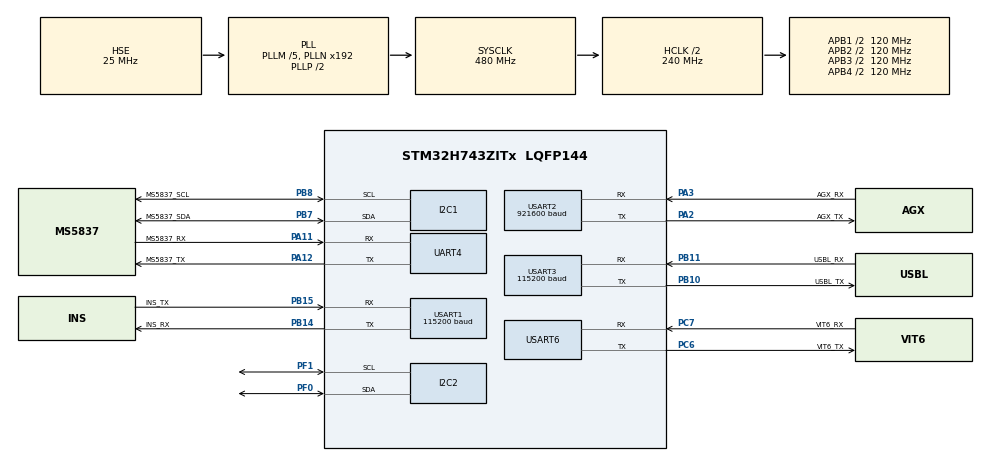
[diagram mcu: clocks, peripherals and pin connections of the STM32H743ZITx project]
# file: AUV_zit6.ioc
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CORTEX_M7.default_mode_Activation=1
Dma.Request0=USART2_RX
Dma.Request1=USART2_TX
Dma.Request2=USART6_RX
Dma.Request3=USART6_TX
Dma.Request4=UART4_RX
Dma.Request5=USART3_RX
Dma.Request6=USART1_RX
Dma.UART4_RX.4.Direction=DMA_PERIPH_TO_MEMORY
Dma.UART4_RX.4.EventEnable=DISABLE
Dma.UART4_RX.4.FIFOMode=DMA_FIFOMODE_DISABLE
Dma.UART4_RX.4.Instance=DMA1_Stream2
Dma.UART4_RX.4.MemDataAlignment=DMA_MDATAALIGN_BYTE
Dma.UART4_RX.4.MemInc=DMA_MINC_ENABLE
Dma.UART4_RX.4.Mode=DMA_CIRCULAR
Dma.UART4_RX.4.PeriphDataAlignment=DMA_PDATAALIGN_BYTE
Dma.UART4_RX.4.PeriphInc=DMA_PINC_DISABLE
Dma.UART4_RX.4.Polarity=HAL_DMAMUX_REQ_GEN_RISING
Dma.UART4_RX.4.Priority=DMA_PRIORITY_LOW
Dma.UART4_RX.4.RequestNumber=1
Dma.UART4_RX.4.SignalID=NONE
Dma.UART4_RX.4.SyncEnable=DISABLE
Dma.UART4_RX.4.SyncPolarity=HAL_DMAMUX_SYNC_NO_EVENT
Dma.UART4_RX.4.SyncRequestNumber=1
Dma.UART4_RX.4.SyncSignalID=NONE
Dma.USART1_RX.6.Direction=DMA_PERIPH_TO_MEMORY
Dma.USART1_RX.6.EventEnable=DISABLE
Dma.USART1_RX.6.FIFOMode=DMA_FIFOMODE_DISABLE
Dma.USART1_RX.6.Instance=DMA1_Stream4
Dma.USART1_RX.6.MemDataAlignment=DMA_MDATAALIGN_BYTE
Dma.USART1_RX.6.MemInc=DMA_MINC_ENABLE
Dma.USART1_RX.6.Mode=DMA_CIRCULAR
Dma.USART1_RX.6.PeriphDataAlignment=DMA_PDATAALIGN_BYTE
Dma.USART1_RX.6.PeriphInc=DMA_PINC_DISABLE
Dma.USART1_RX.6.Polarity=HAL_DMAMUX_REQ_GEN_RISING
Dma.USART1_RX.6.Priority=DMA_PRIORITY_HIGH
Dma.USART1_RX.6.RequestNumber=1
Dma.USART1_RX.6.SignalID=NONE
Dma.USART1_RX.6.SyncEnable=DISABLE
Dma.USART1_RX.6.SyncPolarity=HAL_DMAMUX_SYNC_NO_EVENT
Dma.USART1_RX.6.SyncRequestNumber=1
Dma.USART1_RX.6.SyncSignalID=NONE
Dma.USART2_RX.0.Direction=DMA_PERIPH_TO_MEMORY
Dma.USART2_RX.0.EventEnable=DISABLE
Dma.USART2_RX.0.FIFOMode=DMA_FIFOMODE_DISABLE
Dma.USART2_RX.0.Instance=DMA1_Stream0
Dma.USART2_RX.0.MemDataAlignment=DMA_MDATAALIGN_BYTE
Dma.USART2_RX.0.MemInc=DMA_MINC_ENABLE
Dma.USART2_RX.0.Mode=DMA_CIRCULAR
Dma.USART2_RX.0.PeriphDataAlignment=DMA_PDATAALIGN_BYTE
Dma.USART2_RX.0.PeriphInc=DMA_PINC_DISABLE
Dma.USART2_RX.0.Polarity=HAL_DMAMUX_REQ_GEN_RISING
Dma.USART2_RX.0.Priority=DMA_PRIORITY_VERY_HIGH
Dma.USART2_RX.0.RequestNumber=1
Dma.USART2_RX.0.SignalID=NONE
Dma.USART2_RX.0.SyncEnable=DISABLE
Dma.USART2_RX.0.SyncPolarity=HAL_DMAMUX_SYNC_NO_EVENT
Dma.USART2_RX.0.SyncRequestNumber=1
Dma.USART2_RX.0.SyncSignalID=NONE
Dma.USART2_TX.1.Direction=DMA_MEMORY_TO_PERIPH
Dma.USART2_TX.1.EventEnable=DISABLE
Dma.USART2_TX.1.FIFOMode=DMA_FIFOMODE_DISABLE
Dma.USART2_TX.1.Instance=DMA1_Stream1
Dma.USART2_TX.1.MemDataAlignment=DMA_MDATAALIGN_BYTE
Dma.USART2_TX.1.MemInc=DMA_MINC_ENABLE
Dma.USART2_TX.1.Mode=DMA_NORMAL
Dma.USART2_TX.1.PeriphDataAlignment=DMA_PDATAALIGN_BYTE
Dma.USART2_TX.1.PeriphInc=DMA_PINC_DISABLE
Dma.USART2_TX.1.Polarity=HAL_DMAMUX_REQ_GEN_RISING
Dma.USART2_TX.1.Priority=DMA_PRIORITY_VERY_HIGH
Dma.USART2_TX.1.RequestNumber=1
Dma.USART2_TX.1.SignalID=NONE
Dma.USART2_TX.1.SyncEnable=DISABLE
Dma.USART2_TX.1.SyncPolarity=HAL_DMAMUX_SYNC_NO_EVENT
Dma.USART2_TX.1.SyncRequestNumber=1
Dma.USART2_TX.1.SyncSignalID=NONE
Dma.USART3_RX.5.Direction=DMA_PERIPH_TO_MEMORY
Dma.USART3_RX.5.EventEnable=DISABLE
Dma.USART3_RX.5.FIFOMode=DMA_FIFOMODE_DISABLE
Dma.USART3_RX.5.Instance=DMA1_Stream3
Dma.USART3_RX.5.MemDataAlignment=DMA_MDATAALIGN_BYTE
Dma.USART3_RX.5.MemInc=DMA_MINC_ENABLE
Dma.USART3_RX.5.Mode=DMA_CIRCULAR
Dma.USART3_RX.5.PeriphDataAlignment=DMA_PDATAALIGN_BYTE
Dma.USART3_RX.5.PeriphInc=DMA_PINC_DISABLE
Dma.USART3_RX.5.Polarity=HAL_DMAMUX_REQ_GEN_RISING
Dma.USART3_RX.5.Priority=DMA_PRIORITY_LOW
Dma.USART3_RX.5.RequestNumber=1
Dma.USART3_RX.5.SignalID=NONE
Dma.USART3_RX.5.SyncEnable=DISABLE
Dma.USART3_RX.5.SyncPolarity=HAL_DMAMUX_SYNC_NO_EVENT
Dma.USART3_RX.5.SyncRequestNumber=1
Dma.USART3_RX.5.SyncSignalID=NONE
Dma.USART6_RX.2.Direction=DMA_PERIPH_TO_MEMORY
Dma.USART6_RX.2.EventEnable=DISABLE
Dma.USART6_RX.2.FIFOMode=DMA_FIFOMODE_DISABLE
Dma.USART6_RX.2.Instance=DMA1_Stream7
Dma.USART6_RX.2.MemDataAlignment=DMA_MDATAALIGN_BYTE
Dma.USART6_RX.2.MemInc=DMA_MINC_ENABLE
Dma.USART6_RX.2.Mode=DMA_NORMAL
Dma.USART6_RX.2.PeriphDataAlignment=DMA_PDATAALIGN_BYTE
Dma.USART6_RX.2.PeriphInc=DMA_PINC_DISABLE
Dma.USART6_RX.2.Polarity=HAL_DMAMUX_REQ_GEN_RISING
Dma.USART6_RX.2.Priority=DMA_PRIORITY_VERY_HIGH
Dma.USART6_RX.2.RequestNumber=1
Dma.USART6_RX.2.SignalID=NONE
Dma.USART6_RX.2.SyncEnable=DISABLE
Dma.USART6_RX.2.SyncPolarity=HAL_DMAMUX_SYNC_NO_EVENT
Dma.USART6_RX.2.SyncRequestNumber=1
Dma.USART6_RX.2.SyncSignalID=NONE
Dma.USART6_TX.3.Direction=DMA_MEMORY_TO_PERIPH
Dma.USART6_TX.3.EventEnable=DISABLE
Dma.USART6_TX.3.FIFOMode=DMA_FIFOMODE_DISABLE
Dma.USART6_TX.3.Instance=DMA1_Stream6
Dma.USART6_TX.3.MemDataAlignment=DMA_MDATAALIGN_BYTE
Dma.USART6_TX.3.MemInc=DMA_MINC_ENABLE
Dma.USART6_TX.3.Mode=DMA_NORMAL
Dma.USART6_TX.3.PeriphDataAlignment=DMA_PDATAALIGN_BYTE
Dma.USART6_TX.3.PeriphInc=DMA_PINC_DISABLE
Dma.USART6_TX.3.Polarity=HAL_DMAMUX_REQ_GEN_RISING
Dma.USART6_TX.3.Priority=DMA_PRIORITY_VERY_HIGH
Dma.USART6_TX.3.RequestNumber=1
Dma.USART6_TX.3.SignalID=NONE
Dma.USART6_TX.3.SyncEnable=DISABLE
Dma.USART6_TX.3.SyncPolarity=HAL_DMAMUX_SYNC_NO_EVENT
Dma.USART6_TX.3.SyncRequestNumber=1
Dma.USART6_TX.3.SyncSignalID=NONE
FREERTOS.Tasks01=app_bootstrap,48,512,Entry_AppBootstrap,Default,NULL,Dynamic,NULL,NULL
FREERTOS.configCHECK_FOR_STACK_OVERFLOW=2
FREERTOS.configMINIMAL_STACK_SIZE=256
FREERTOS.configTOTAL_HEAP_SIZE=80000
I2C1.Timing=0x307075B1
I2C2.Timing=0x307075B1
IWDG1.Reload=3000-1
IWDG1.Window=4096-1
Mcu.Family=STM32H7
Mcu.Name=STM32H743ZITx
Mcu.Package=LQFP144
NVIC.DMA1_Stream0_IRQn=true\:5\:0\:false\:false\:true\:true\:false\:true\:true
NVIC.DMA1_Stream1_IRQn=true\:5\:0\:true\:false\:true\:true\:false\:true\:true
NVIC.DMA1_Stream2_IRQn=true\:5\:0\:false\:false\:true\:true\:false\:true\:true
NVIC.DMA1_Stream3_IRQn=true\:5\:0\:false\:false\:true\:true\:false\:true\:true
NVIC.DMA1_Stream4_IRQn=true\:5\:0\:false\:false\:true\:true\:false\:true\:true
NVIC.DMA1_Stream6_IRQn=true\:5\:0\:false\:false\:true\:true\:false\:true\:true
NVIC.DMA1_Stream7_IRQn=true\:5\:0\:false\:false\:true\:true\:false\:true\:true
NVIC.PriorityGroup=NVIC_PRIORITYGROUP_4
NVIC.TIM6_DAC_IRQn=true\:0\:0\:true\:false\:true\:false\:false\:true\:true
NVIC.TimeBase=TIM6_DAC_IRQn
NVIC.TimeBaseIP=TIM6
NVIC.UART4_IRQn=true\:5\:0\:false\:false\:true\:true\:true\:true\:true
NVIC.USART1_IRQn=true\:5\:0\:false\:false\:true\:true\:true\:true\:true
NVIC.USART2_IRQn=true\:5\:0\:false\:false\:true\:true\:true\:true\:true
NVIC.USART3_IRQn=true\:5\:0\:false\:false\:true\:true\:true\:true\:true
NVIC.USART6_IRQn=true\:5\:0\:false\:false\:true\:true\:true\:true\:true
PA11.GPIO_Label=MS5837_RX
PA11.Mode=Asynchronous
PA11.Signal=UART4_RX
PA12.GPIO_Label=MS5837_TX
PA12.Mode=Asynchronous
PA12.Signal=UART4_TX
PA13\ (JTMS/SWDIO).Mode=Serial_Wire
PA13\ (JTMS/SWDIO).Signal=DEBUG_JTMS-SWDIO
PA14\ (JTCK/SWCLK).Mode=Serial_Wire
PA14\ (JTCK/SWCLK).Signal=DEBUG_JTCK-SWCLK
PA2.GPIO_Label=AGX_TX
PA2.GPIO_PuPd=GPIO_PULLUP
PA2.Mode=Asynchronous
PA2.Signal=USART2_TX
PA3.GPIO_Label=AGX_RX
PA3.GPIO_PuPd=GPIO_PULLUP
PA3.Mode=Asynchronous
PA3.Signal=USART2_RX
PB10.GPIO_Label=USBL_TX
PB10.GPIO_PuPd=GPIO_PULLUP
PB10.Mode=Asynchronous
PB10.Signal=USART3_TX
PB11.GPIO_Label=USBL_RX
PB11.GPIO_PuPd=GPIO_PULLUP
PB11.Mode=Asynchronous
PB11.Signal=USART3_RX
PB14.GPIO_Label=INS_RX
PB14.GPIO_PuPd=GPIO_PULLUP
PB14.Mode=Asynchronous
PB14.Signal=USART1_TX
PB15.GPIO_Label=INS_TX
PB15.GPIO_PuPd=GPIO_PULLUP
PB15.Mode=Asynchronous
PB15.Signal=USART1_RX
PB7.GPIO_Label=MS5837_SDA
PB7.Mode=I2C
PB7.Signal=I2C1_SDA
PB8.GPIO_Label=MS5837_SCL
PB8.Mode=I2C
PB8.Signal=I2C1_SCL
PC14-OSC32_IN\ (OSC32_IN).Mode=LSE-External-Oscillator
PC14-OSC32_IN\ (OSC32_IN).Signal=RCC_OSC32_IN
PC15-OSC32_OUT\ (OSC32_OUT).Mode=LSE-External-Oscillator
PC15-OSC32_OUT\ (OSC32_OUT).Signal=RCC_OSC32_OUT
PC6.GPIO_Label=VIT6_TX
PC6.Mode=Asynchronous
PC6.Signal=USART6_TX
PC7.GPIO_Label=VIT6_RX
PC7.Mode=Asynchronous
PC7.Signal=USART6_RX
PF0.Mode=I2C
PF0.Signal=I2C2_SDA
PF1.Mode=I2C
PF1.Signal=I2C2_SCL
PH0-OSC_IN\ (PH0).Mode=HSE-External-Oscillator
PH0-OSC_IN\ (PH0).Signal=RCC_OSC_IN
PH1-OSC_OUT\ (PH1).Mode=HSE-External-Oscillator
PH1-OSC_OUT\ (PH1).Signal=RCC_OSC_OUT
ProjectManager.HeapSize=0x1000
ProjectManager.StackSize=0x2000
ProjectManager.TargetToolchain=CMake
RCC.ADCFreq_Value=50390625
RCC.APB1Freq_Value=120000000
RCC.APB2Freq_Value=120000000
RCC.APB3Freq_Value=120000000
RCC.APB4Freq_Value=120000000
RCC.CortexFreq_Value=480000000
RCC.D1PPRE=RCC_APB3_DIV2
RCC.D2PPRE1=RCC_APB1_DIV2
RCC.D2PPRE2=RCC_APB2_DIV2
RCC.D3PPRE=RCC_APB4_DIV2
RCC.DIVM1=5
RCC.DIVN1=192
RCC.HCLKFreq_Value=240000000
RCC.HPRE=RCC_HCLK_DIV2
RCC.PLL2FRACN=0
RCC.PLL3FRACN=0
RCC.PLLFRACN=0
RCC.PLLSourceVirtual=RCC_PLLSOURCE_HSE
RCC.SYSCLKFreq_VALUE=480000000
RCC.SYSCLKSource=RCC_SYSCLKSOURCE_PLLCLK
RCC.USBFreq_Value=480000000
USART1.BaudRate=115200
USART1.StopBits=STOPBITS_1
USART1.VirtualMode-Asynchronous=VM_ASYNC
USART2.BaudRate=921600
USART2.VirtualMode-Asynchronous=VM_ASYNC
USART3.BaudRate=115200
USART3.StopBits=STOPBITS_1
USART3.VirtualMode-Asynchronous=VM_ASYNC
USART6.VirtualMode-Asynchronous=VM_ASYNC
VP_FREERTOS_VS_CMSIS_V2.Mode=CMSIS_V2
VP_IWDG1_VS_IWDG.Mode=IWDG_Activate
VP_MEMORYMAP_VS_MEMORYMAP.Mode=CurAppReg
VP_SYS_VS_tim6.Mode=TIM6
board=custom

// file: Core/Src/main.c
/* USER CODE BEGIN Header */
/**
 ******************************************************************************
 * @file           : main.c
 * @brief          : Main program body
 ******************************************************************************
 * @attention
 *
 * Copyright (c) 2026 STMicroelectronics.
 * All rights reserved.
 *
 * This software is licensed under terms that can be found in the LICENSE file
 * in the root directory of this software component.
 * If no LICENSE file comes with this software, it is provided AS-IS.
 *
 ******************************************************************************
 */
/* USER CODE END Header */
#include "main.h"
#include "Pushrod_Porting_Config.h"
#include "FreeRTOS.h"
#include "cmsis_os2.h"
#include "dma.h"
#include "i2c.h"
#include "iwdg.h"
#include "usart.h"
#include "gpio.h"

void SystemClock_Config(void);
static void MPU_Config(void);
void MX_FREERTOS_Init(void);
/* USER CODE BEGIN PFP */
extern void Entry_MicroRosTask(void *argument);
extern void Entry_ControlTask(void *argument);
/* USER CODE END PFP */

/* USER CODE BEGIN 0 */

/**
 * @brief  自定义 MPU 配置（在 CubeMX 生成的 MPU_Config 之后追加）
 *         RAM_D2 设为 Non-cacheable 供 DMA 缓冲区使用
 *         AXI SRAM 设为 Non-cacheable
 * @note   放在 USER CODE 区域，CubeMX 重新生成时不会覆盖
 */
static void UserApp_MPU_Config(void) {
  MPU_Region_InitTypeDef MPU_InitStruct = {0};

  /* Configure RAM_D2 (SRAM1/2/3) as Non-cacheable for DMA */
  MPU_InitStruct.Enable = MPU_REGION_ENABLE;
  MPU_InitStruct.Number = MPU_REGION_NUMBER1;
  MPU_InitStruct.BaseAddress = 0x30000000;
  MPU_InitStruct.Size = MPU_REGION_SIZE_512KB;
  MPU_InitStruct.SubRegionDisable = 0x0;
  MPU_InitStruct.TypeExtField = MPU_TEX_LEVEL1;
  MPU_InitStruct.AccessPermission = MPU_REGION_FULL_ACCESS;
  MPU_InitStruct.DisableExec = MPU_INSTRUCTION_ACCESS_DISABLE;
  MPU_InitStruct.IsShareable = MPU_ACCESS_NOT_SHAREABLE;
  MPU_InitStruct.IsCacheable = MPU_ACCESS_NOT_CACHEABLE;
  MPU_InitStruct.IsBufferable = MPU_ACCESS_NOT_BUFFERABLE;
  HAL_MPU_ConfigRegion(&MPU_InitStruct);

  /* Configure AXI SRAM as Non-cacheable */
  MPU_InitStruct.Number = MPU_REGION_NUMBER2;
  MPU_InitStruct.BaseAddress = 0x24000000;
  MPU_InitStruct.Size = MPU_REGION_SIZE_512KB;
  HAL_MPU_ConfigRegion(&MPU_InitStruct);
}

/* USER CODE END 0 */

int main(void)
{

  /* MPU Configuration--------------------------------------------------------*/
  MPU_Config();

  /* MCU Configuration--------------------------------------------------------*/

  /* Reset of all peripherals, Initializes the Flash interface and the Systick. */
  HAL_Init();

  /* Configure the system clock */
  SystemClock_Config();

  /* USER CODE BEGIN SysInit */
  __HAL_RCC_D2SRAM1_CLK_ENABLE();
  __HAL_RCC_D2SRAM2_CLK_ENABLE();
  __HAL_RCC_D2SRAM3_CLK_ENABLE();
  /* USER CODE END SysInit */

  /* Initialize all configured peripherals */
  MX_GPIO_Init();
  MX_DMA_Init();
#if !AUV_PRESET_USES_GPIO_PUSHROD
  MX_I2C1_Init();
#endif
  MX_USART2_UART_Init();
  MX_I2C2_Init();
  MX_USART1_UART_Init();
  MX_USART3_UART_Init();
  MX_USART6_UART_Init();
  MX_IWDG1_Init();
  MX_UART4_Init();
  /* USER CODE BEGIN 2 */
  /* 追加自定义 MPU 区域（DMA 缓冲区 Non-cacheable），不覆盖 CubeMX 的默认配置 */
  UserApp_MPU_Config();
  /* USER CODE END 2 */

  /* Init scheduler */
  osKernelInitialize();  /* Call init function for freertos objects (in cmsis_os2.c) */
  MX_FREERTOS_Init();

  /* Start scheduler */
  osKernelStart();

  /* We should never get here as control is now taken by the scheduler */

  /* Infinite loop */
  while (1) {

  }
}

void SystemClock_Config(void)
{
  RCC_OscInitTypeDef RCC_OscInitStruct = {0};
  RCC_ClkInitTypeDef RCC_ClkInitStruct = {0};

  /** Supply configuration update enable
  */
  HAL_PWREx_ConfigSupply(PWR_LDO_SUPPLY);

  /** Configure the main internal regulator output voltage
  */
  __HAL_PWR_VOLTAGESCALING_CONFIG(PWR_REGULATOR_VOLTAGE_SCALE0);

  while(!__HAL_PWR_GET_FLAG(PWR_FLAG_VOSRDY)) {}

  /** Initializes the RCC Oscillators according to the specified parameters
  * in the RCC_OscInitTypeDef structure.
  */
  RCC_OscInitStruct.OscillatorType = RCC_OSCILLATORTYPE_LSI|RCC_OSCILLATORTYPE_HSE;
  RCC_OscInitStruct.HSEState = RCC_HSE_ON;
  RCC_OscInitStruct.LSIState = RCC_LSI_ON;
  RCC_OscInitStruct.PLL.PLLState = RCC_PLL_ON;
  RCC_OscInitStruct.PLL.PLLSource = RCC_PLLSOURCE_HSE;
  RCC_OscInitStruct.PLL.PLLM = 5;
  RCC_OscInitStruct.PLL.PLLN = 192;
  RCC_OscInitStruct.PLL.PLLP = 2;
  RCC_OscInitStruct.PLL.PLLQ = 2;
  RCC_OscInitStruct.PLL.PLLR = 2;
  RCC_OscInitStruct.PLL.PLLRGE = RCC_PLL1VCIRANGE_2;
  RCC_OscInitStruct.PLL.PLLVCOSEL = RCC_PLL1VCOWIDE;
  RCC_OscInitStruct.PLL.PLLFRACN = 0;
  if (HAL_RCC_OscConfig(&RCC_OscInitStruct) != HAL_OK)
  {
    Error_Handler();
  }

  /** Initializes the CPU, AHB and APB buses clocks
  */
  RCC_ClkInitStruct.ClockType = RCC_CLOCKTYPE_HCLK|RCC_CLOCKTYPE_SYSCLK
                              |RCC_CLOCKTYPE_PCLK1|RCC_CLOCKTYPE_PCLK2
                              |RCC_CLOCKTYPE_D3PCLK1|RCC_CLOCKTYPE_D1PCLK1;
  RCC_ClkInitStruct.SYSCLKSource = RCC_SYSCLKSOURCE_PLLCLK;
  RCC_ClkInitStruct.SYSCLKDivider = RCC_SYSCLK_DIV1;
  RCC_ClkInitStruct.AHBCLKDivider = RCC_HCLK_DIV2;
  RCC_ClkInitStruct.APB3CLKDivider = RCC_APB3_DIV2;
  RCC_ClkInitStruct.APB1CLKDivider = RCC_APB1_DIV2;
  RCC_ClkInitStruct.APB2CLKDivider = RCC_APB2_DIV2;
  RCC_ClkInitStruct.APB4CLKDivider = RCC_APB4_DIV2;

  if (HAL_RCC_ClockConfig(&RCC_ClkInitStruct, FLASH_LATENCY_4) != HAL_OK)
  {
    Error_Handler();
  }
}

 /* MPU Configuration */

void MPU_Config(void)
{
  MPU_Region_InitTypeDef MPU_InitStruct = {0};

  /* Disables the MPU */
  HAL_MPU_Disable();

  /** Initializes and configures the Region and the memory to be protected
  */
  MPU_InitStruct.Enable = MPU_REGION_ENABLE;
  MPU_InitStruct.Number = MPU_REGION_NUMBER0;
  MPU_InitStruct.BaseAddress = 0x0;
  MPU_InitStruct.Size = MPU_REGION_SIZE_4GB;
  MPU_InitStruct.SubRegionDisable = 0x87;
  MPU_InitStruct.TypeExtField = MPU_TEX_LEVEL0;
  MPU_InitStruct.AccessPermission = MPU_REGION_NO_ACCESS;
  MPU_InitStruct.DisableExec = MPU_INSTRUCTION_ACCESS_DISABLE;
  MPU_InitStruct.IsShareable = MPU_ACCESS_SHAREABLE;
  MPU_InitStruct.IsCacheable = MPU_ACCESS_NOT_CACHEABLE;
  MPU_InitStruct.IsBufferable = MPU_ACCESS_NOT_BUFFERABLE;

  HAL_MPU_ConfigRegion(&MPU_InitStruct);
  /* Enables the MPU */
  HAL_MPU_Enable(MPU_PRIVILEGED_DEFAULT);

}

void HAL_TIM_PeriodElapsedCallback(TIM_HandleTypeDef *htim)
{
  if (htim->Instance == TIM6)
  {
    HAL_IncTick();
  }
}

void Error_Handler(void)
{
  __disable_irq();
  while (1) {
  }
}
#ifdef USE_FULL_ASSERT
/**
  * @brief  Reports the name of the source file and the source line number
  *         where the assert_param error has occurred.
  * @param  file: pointer to the source file name
  * @param  line: assert_param error line source number
  * @retval None
  */
void assert_failed(uint8_t *file, uint32_t line)
{
  /* USER CODE BEGIN 6 */
  /* User can add his own implementation to report the file name and line
     number, ex: printf("Wrong parameters value: file %s on line %d\r\n", file,
     line) */
  /* USER CODE END 6 */
}
#endif /* USE_FULL_ASSERT */

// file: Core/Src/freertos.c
/* USER CODE BEGIN Header */
/**
 ******************************************************************************
 * File Name          : freertos.c
 * Description        : Code for freertos applications
 ******************************************************************************
 * @attention
 *
 * Copyright (c) 2026 STMicroelectronics.
 * All rights reserved.
 *
 * This software is licensed under terms that can be found in the LICENSE file
 * in the root directory of this software component.
 * If no LICENSE file comes with this software, it is provided AS-IS.
 *
 ******************************************************************************
 */
/* USER CODE END Header */

#include "FreeRTOS.h"
#include "task.h"
#include "main.h"
#include "FreeRTOS.h"
#include "cmsis_os2.h"

/* USER CODE BEGIN Includes */
#include "AppMain.hpp"
#include "usart.h"
#include <rcl/error_handling.h>
#include <rcl/rcl.h>
#include <rclc/executor.h>
#include <rmw_microros/rmw_microros.h>
#include <std_msgs/msg/int32.h>
#include <uxr/client/transport.h>

/* USER CODE END Includes */

/* USER CODE BEGIN Variables */
rcl_publisher_t publisher;
std_msgs__msg__Int32 msg;
/* USER CODE END Variables */
/* Definitions for app_bootstrap */
osThreadId_t app_bootstrapHandle;
const osThreadAttr_t app_bootstrap_attributes = {
  .name = "app_bootstrap",
  .stack_size = 512 * 4,
  .priority = (osPriority_t) osPriorityRealtime,
};

/* USER CODE BEGIN FunctionPrototypes */
bool cubemx_transport_open(struct uxrCustomTransport *transport);
bool cubemx_transport_close(struct uxrCustomTransport *transport);
size_t cubemx_transport_write(struct uxrCustomTransport *transport,
                              const uint8_t *buf, size_t len, uint8_t *err);
size_t cubemx_transport_read(struct uxrCustomTransport *transport, uint8_t *buf,
                             size_t len, int timeout, uint8_t *err);

void *microros_allocate(size_t size, void *state);
void microros_deallocate(void *pointer, void *state);
void *microros_reallocate(void *pointer, size_t size, void *state);
void *microros_zero_allocate(size_t number_of_elements, size_t size_of_element,
                             void *state);
/* USER CODE END FunctionPrototypes */

void Entry_AppBootstrap(void *argument);

void MX_FREERTOS_Init(void); /* (MISRA C 2004 rule 8.1) */

/* Hook prototypes */
void vApplicationStackOverflowHook(xTaskHandle xTask, char *pcTaskName);

/* USER CODE BEGIN 4 */
void vApplicationStackOverflowHook(xTaskHandle xTask, char *pcTaskName) {
  /* Run time stack overflow checking is performed if
  configCHECK_FOR_STACK_OVERFLOW is defined to 1 or 2. This hook function is
  called if a stack overflow is detected. */
}
/* USER CODE END 4 */

void MX_FREERTOS_Init(void) {

  /* Create the thread(s) */
  /* creation of app_bootstrap */
  app_bootstrapHandle = osThreadNew(Entry_AppBootstrap, NULL, &app_bootstrap_attributes);

}

void Entry_AppBootstrap(void *argument)
{
  /* USER CODE BEGIN Entry_AppBootstrap */
  (void)argument;
  UserApp_Start();
  /* USER CODE END Entry_AppBootstrap */
}
